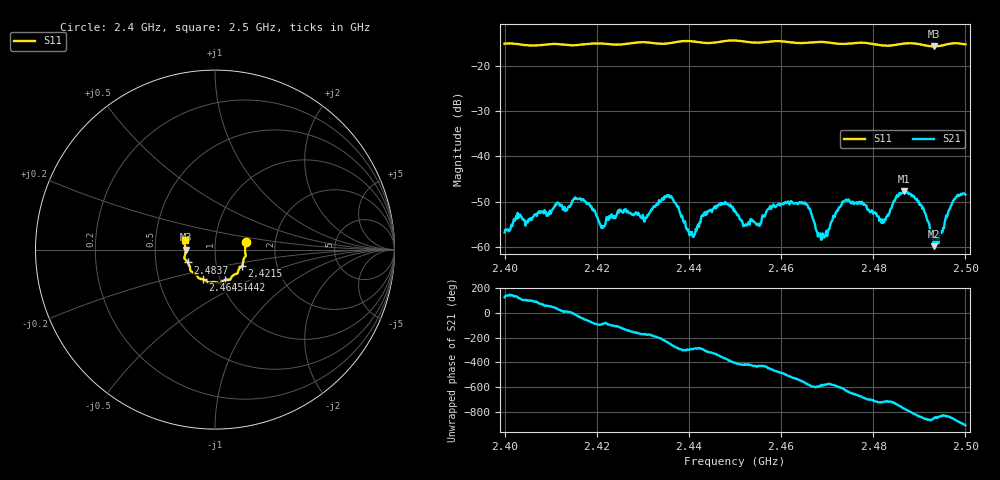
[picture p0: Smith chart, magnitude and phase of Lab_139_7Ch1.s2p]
# Hz S RI R 50
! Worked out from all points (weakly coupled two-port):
!   601 points, 2.4 GHz to 2.5 GHz, reference 50 ohm
!   highest |S21| = -47.66 dB at 2.4867 GHz (marker M1); lowest = -59.8 dB at 2.4932 GHz (marker M2)
!   lowest |S11| = -15.7 dB at 2.4932 GHz (marker M3), VSWR 1.39, Z = 35.9 - j0.046 ohm
!   |S11| at or under -10 dB: start of sweep to end of sweep
!   S12 and S22 are empty: the file has one direction only
!   S11 on the Smith chart (normalised r, x): 2.4 GHz: 1.41, +0.12; 2.4215 GHz: 1.33, -0.25; 2.4442 GHz: 1.05, -0.37; 2.4645 GHz: 0.83, -0.29; 2.4837 GHz: 0.73, -0.11; 2.5 GHz: 0.71, +0.07
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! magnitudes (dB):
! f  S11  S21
! 2.4 GHz  -15.1  -56.8
! 2.4167 GHz  -15.3  -49.7
! 2.4215 GHz  -15.1  -55.5
! 2.4307 GHz  -14.8  -53.5
! 2.4333 GHz  -15.1  -50.6
! 2.4362 GHz  -14.9  -48.8
! 2.4407 GHz  -14.6  -56.7
! 2.4442 GHz  -15.0  -52.0
! 2.45 GHz  -14.4  -52.3
! 2.4552 GHz  -14.9  -54.8
! 2.4578 GHz  -14.6  -51.6
! 2.4645 GHz  -15.0  -50.1
! 2.4667 GHz  -14.8  -52.9
! 2.4692 GHz  -14.7  -57.8
! 2.4738 GHz  -15.1  -49.8
! 2.4833 GHz  -15.6  -53.1
! 2.4837 GHz  -15.5  -51.9
! 2.4867 GHz  -15.1  -47.7
! 2.4907 GHz  -15.4  -51.6
! 2.4932 GHz  -15.7  -59.8
! 2.4978 GHz  -15.0  -49.1
! 2.5 GHz  -15.3  -48.5
